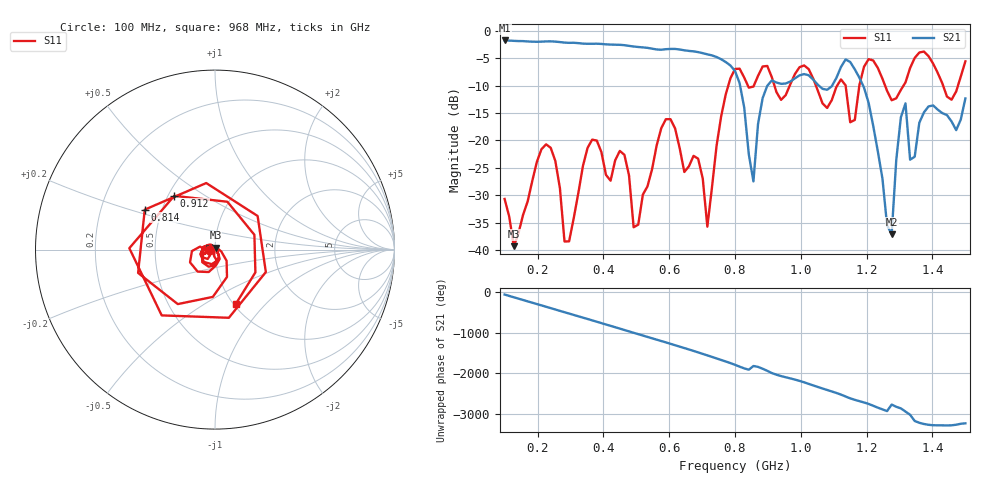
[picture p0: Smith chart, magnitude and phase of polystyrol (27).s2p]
! NanoVNA-App
! Date: 2025-09-26 09:42:05
! Start: 100MHz Stop: 1,5GHz Points: 101
! S-Parameter data: F S11 S21 S12 S22
# Hz S RI R 50
!  Frequency  S11_Real  S11_Imag  S21_Real  S21_Imag  S12_Real  S12_Imag  S22_Real  S22_Imag
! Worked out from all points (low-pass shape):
!   101 points, 100 MHz to 1.5 GHz, reference 50 ohm
!   highest |S21| = -1.79 dB at 100 MHz (marker M1); lowest = -37.1 dB at 1.276 GHz (marker M2)
!   |S21| within 3 dB of the highest: start of sweep to 743.3 MHz
!   lowest |S11| = -39.2 dB at 128 MHz (marker M3), VSWR 1.02, Z = 50.3 + j1.06 ohm
!   |S11| at or under -10 dB: start of sweep to 779.6 MHz; 1.046 GHz to 1.111 GHz (64.79 MHz wide, 6.01 % of centre); 1.256 GHz to 1.312 GHz (56.13 MHz wide, 4.37 % of centre) (the widest 3 of 7)
!   S12 and S22 are empty: the file has one direction only
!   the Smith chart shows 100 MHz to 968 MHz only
!   S11 on the Smith chart (normalised r, x): 100 MHz: 0.94, -0.01; 814 MHz: 0.40, +0.22; 912 MHz: 0.54, +0.38; 968 MHz: 1.02, -0.69
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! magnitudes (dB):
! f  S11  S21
! 100 MHz  -30.6  -1.8
! 128 MHz  -39.2  -1.9
! 212 MHz  -21.6  -2.0
! 254 MHz  -23.7  -2.0
! 282 MHz  -38.4  -2.2
! 338 MHz  -24.6  -2.4
! 464 MHz  -22.6  -2.6
! 492 MHz  -35.8  -2.9
! 576 MHz  -17.8  -3.5
! 688 MHz  -23.3  -3.9
! 716 MHz  -35.7  -4.3
! 800 MHz  -7.0  -7.3
! 814 MHz  -6.9  -9.6
! 856 MHz  -10.2  -27.5
! 912 MHz  -8.5  -9.1
! 968 MHz  -9.8  -9.3
! 1.038 GHz  -8.8  -8.9
! 1.178 GHz  -9.9  -8.6
! 1.276 GHz  -12.7  -37.1
! 1.318 GHz  -9.4  -13.2
! 1.332 GHz  -6.8  -23.5
! 1.5 GHz  -5.6  -12.3
